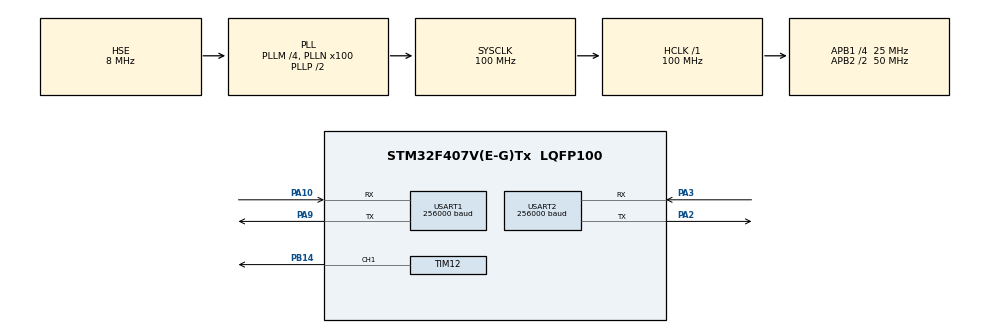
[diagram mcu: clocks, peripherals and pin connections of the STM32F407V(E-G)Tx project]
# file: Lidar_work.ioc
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Dma.Request0=USART1_RX
Dma.Request1=USART1_TX
Dma.USART1_RX.0.Direction=DMA_PERIPH_TO_MEMORY
Dma.USART1_RX.0.FIFOMode=DMA_FIFOMODE_DISABLE
Dma.USART1_RX.0.Instance=DMA2_Stream2
Dma.USART1_RX.0.MemDataAlignment=DMA_MDATAALIGN_BYTE
Dma.USART1_RX.0.MemInc=DMA_MINC_ENABLE
Dma.USART1_RX.0.Mode=DMA_NORMAL
Dma.USART1_RX.0.PeriphDataAlignment=DMA_PDATAALIGN_BYTE
Dma.USART1_RX.0.PeriphInc=DMA_PINC_DISABLE
Dma.USART1_RX.0.Priority=DMA_PRIORITY_VERY_HIGH
Dma.USART1_TX.1.Direction=DMA_MEMORY_TO_PERIPH
Dma.USART1_TX.1.FIFOMode=DMA_FIFOMODE_DISABLE
Dma.USART1_TX.1.Instance=DMA2_Stream7
Dma.USART1_TX.1.MemDataAlignment=DMA_MDATAALIGN_BYTE
Dma.USART1_TX.1.MemInc=DMA_MINC_ENABLE
Dma.USART1_TX.1.Mode=DMA_NORMAL
Dma.USART1_TX.1.PeriphDataAlignment=DMA_PDATAALIGN_BYTE
Dma.USART1_TX.1.PeriphInc=DMA_PINC_DISABLE
Dma.USART1_TX.1.Priority=DMA_PRIORITY_VERY_HIGH
Mcu.Family=STM32F4
Mcu.Name=STM32F407V(E-G)Tx
Mcu.Package=LQFP100
NVIC.DMA2_Stream2_IRQn=true\:0\:0\:false\:false\:true\:false\:true\:true
NVIC.DMA2_Stream7_IRQn=true\:0\:0\:false\:false\:true\:false\:true\:true
NVIC.PriorityGroup=NVIC_PRIORITYGROUP_4
NVIC.USART1_IRQn=true\:0\:0\:false\:false\:true\:true\:true\:true
PA10.Mode=Asynchronous
PA10.Signal=USART1_RX
PA2.Mode=Asynchronous
PA2.Signal=USART2_TX
PA3.Mode=Asynchronous
PA3.Signal=USART2_RX
PA9.Mode=Asynchronous
PA9.Signal=USART1_TX
PB14.Signal=S_TIM12_CH1
PH0-OSC_IN.Mode=HSE-External-Oscillator
PH0-OSC_IN.Signal=RCC_OSC_IN
PH1-OSC_OUT.Mode=HSE-External-Oscillator
PH1-OSC_OUT.Signal=RCC_OSC_OUT
ProjectManager.HeapSize=0x200
ProjectManager.StackSize=0x400
ProjectManager.TargetToolchain=STM32CubeIDE
RCC.48MHZClocksFreq_Value=50000000
RCC.AHBFreq_Value=100000000
RCC.APB1CLKDivider=RCC_HCLK_DIV4
RCC.APB1Freq_Value=25000000
RCC.APB1TimFreq_Value=50000000
RCC.APB2CLKDivider=RCC_HCLK_DIV2
RCC.APB2Freq_Value=50000000
RCC.APB2TimFreq_Value=100000000
RCC.CortexFreq_Value=100000000
RCC.HCLKFreq_Value=100000000
RCC.HSE_VALUE=8000000
RCC.HSI_VALUE=16000000
RCC.LSE_VALUE=32768
RCC.PLLM=4
RCC.PLLN=100
RCC.PLLSourceVirtual=RCC_PLLSOURCE_HSE
RCC.SYSCLKFreq_VALUE=100000000
RCC.SYSCLKSource=RCC_SYSCLKSOURCE_PLLCLK
RCC.VCOOutputFreq_Value=200000000
SH.S_TIM12_CH1.0=TIM12_CH1,PWM Generation1 CH1
TIM12.Channel-PWM\ Generation1\ CH1=TIM_CHANNEL_1
TIM12.Period=1000
TIM12.Prescaler=3
TIM12.Pulse-PWM\ Generation1\ CH1=500
USART1.BaudRate=256000
USART1.VirtualMode=VM_ASYNC
USART2.BaudRate=256000
USART2.VirtualMode=VM_ASYNC
VP_TIM12_VS_ClockSourceINT.Mode=Internal
board=custom

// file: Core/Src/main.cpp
/* USER CODE BEGIN Header */
/**
  ******************************************************************************
  * @file           : main.c
  * @brief          : Main program body
  ******************************************************************************
  * @attention
  *
  * Copyright (c) 2023 STMicroelectronics.
  * All rights reserved.
  *
  * This software is licensed under terms that can be found in the LICENSE file
  * in the root directory of this software component.
  * If no LICENSE file comes with this software, it is provided AS-IS.
  *
  ******************************************************************************
  */
/* USER CODE END Header */
#include "main.h"

/* USER CODE BEGIN Includes */
#include "lidar_driver.h"
#include "lidar.h"
#include "dbscan.hpp"
#include <iostream>
#include <string>
#include <system_error>
#include <string_view>
#include <vector>
#include <utility>
#include <fstream>
#include <charconv>
#include <cassert>
#include <tuple>
#include <cstring>
#include <array>
#include <span>
/* USER CODE END Includes */

TIM_HandleTypeDef htim12;

UART_HandleTypeDef huart1;
UART_HandleTypeDef huart2;
DMA_HandleTypeDef hdma_usart1_rx;
DMA_HandleTypeDef hdma_usart1_tx;

/* USER CODE BEGIN PV */

// Variáveis de recepção de dados do lidar
volatile bool received_flag, t_flag = false;
volatile bool parseData = false;
uint8_t buff[3*BLOCK_SIZE] = {0};

// informações do mapa scaneado pelo lidar
lidar_map map_li;

// aux
uint8_t i = 0;
int count = 0;

//Quantidade de pacotes recebidos -> utilizado no dbscan
int n_blocks = 0;

using std::vector;

//Variáveis dbscan
float eps = 0.75; // vizinhaça
int minPts = 8; // minimo de pontos para formar uma região densa
vector<point2> points; // pontos x->distancia; y->angulo
//DBSCAN db = new DBSCAN();

/* USER CODE END PV */

void SystemClock_Config(void);
static void MX_GPIO_Init(void);
static void MX_DMA_Init(void);
static void MX_TIM12_Init(void);
static void MX_USART1_UART_Init(void);
static void MX_USART2_UART_Init(void);
/* USER CODE BEGIN PFP */
auto check_from_chars_error(std::errc err, const std::string_view& line, int line_counter)
{
    if(err == std::errc())
        return;

    if(err == std::errc::invalid_argument)
    {
        std::cerr << "Error: Invalid value \"" << line
            << "\" at line " << line_counter << "\n";
        std::exit(1);
    }

    if(err == std::errc::result_out_of_range)
    {
        std::cerr << "Error: Value \"" << line << "\"out of range at line "
                  <<  line_counter << "\n";
        std::exit(1);
    }

}

template<typename T>
auto to_num(const std::string& str)
{
    T value = 0;
    auto [ptr, ec] = std::from_chars(str.data(), str.data() + str.size(), value);

    if(ec != std::errc())
    {
        std::cerr << "Error converting value '" << str << "'\n";
        std::exit(1);
    }
    return value;
}

// noise will be labelled as 0
auto flatten(const std::vector<std::vector<size_t>>& clusters, size_t n)
{
    auto flat_clusters = std::vector<size_t>(n);

    for(size_t i = 0; i < clusters.size(); i++)
    {
        for(auto p: clusters[i])
        {
            flat_clusters[p] = i + 1;
        }
    }

    return flat_clusters;
}

auto run_dbscan(int dim, const std::span<const point2>& data, float eps, int min_pts)
{
    if(dim == 2)
    {
        auto points = std::vector<point2>(data.size() / dim);
        std::memcpy(points.data(), data.data(), sizeof(float) * data.size());

        return dbscan(data, eps, min_pts);
    }

   // auto points = std::vector<point3>(data.size() / dim);
    //std::memcpy(points.data(), data.data(), sizeof(float) * data.size());

    //return dbscan(data, eps, min_pts);
}

auto dbscan2d(vector<point2> data, float eps, int min_pts)
{
//    auto points = std::vector<point2>(data.size() / 2);
//
//    std::memcpy(points.data(), data.data(), sizeof(float) * data.size());

    auto clusters = dbscan(data, eps, min_pts);
    auto flat     = flatten(clusters, data.size());

    for(size_t i = 0; i < data.size(); i++)
    {
        //std::cout << points[i].x_dist << ' -- ' << points[i].y_angl << ' -- '  << flat[i] << ' !!!!!\r\n\n ';
    	//printf("pra saber o que tá acontecendo\r\n");
    	//printf("%f --- %f --- %d\r\n", data[i].x_dist, data[i].y_angl, flat[i]);
    	printf("%f---%f\r\n", data[i].x_dist, data[i].y_angl);
    }
}

//auto dbscan3d(const std::span<const float>& data, float eps, int min_pts)
//{
//    auto points = std::vector<point3>(data.size() / 3);
//
//    std::memcpy(points.data(), data.data(), sizeof(float) * data.size());
//
//    auto clusters = dbscan(points, eps, min_pts);
//    auto flat     = flatten(clusters, points.size());
//
//    for(size_t i = 0; i < points.size(); i++)
//    {
//        std::cout << points[i].x << ',' << points[i].y << ',' << points[i].z << ',' << flat[i] << '\n';
//    }
//}

extern "C"{
int _write(int fd, char* ptr, int len) {
	//HAL_UART_Transmit_IT(&huart2, (uint8_t *) ptr, strlen(ptr));
//	HAL_UART_Transmit_DMA(&huart2, (uint8_t*) ptr, strlen(ptr));
	HAL_UART_Transmit(&huart2, (uint8_t *) ptr, len, strlen(ptr));
	return len;
}
}

void HAL_UART_RxCpltCallback(UART_HandleTypeDef *huart)
{
		static uint8_t k = 0;
		static uint8_t previous_k = 2;
		static uint8_t next_k = 1;

//		printf("enviou\r\n");

		if(parseData)
		{
			//Set up DMA to receive next packet.
			HAL_UART_Receive_DMA(&huart1, buff + next_k * BLOCK_SIZE, BLOCK_SIZE);
			n_blocks++;

			//Calculate start angles of current and last packet, compare them -> calculate step, convert to Q16
			int current_start_angle_q8 = (((uint16_t)(*(buff + k * BLOCK_SIZE + ANGLE_OFFSET_14_8)) & 0x7f) << 10);
			current_start_angle_q8 |= (*(buff + k * BLOCK_SIZE + ANGLE_OFFSET_07_0)) << 2;
			int previous_start_angle_q8 = (((uint16_t)(*(buff + previous_k * BLOCK_SIZE + ANGLE_OFFSET_14_8)) & 0x7f) << 10);
			previous_start_angle_q8 |= (*(buff + previous_k * BLOCK_SIZE + ANGLE_OFFSET_07_0)) << 2;

			int start_angle_diff_q8 = current_start_angle_q8 - previous_start_angle_q8;
			if(previous_start_angle_q8 > current_start_angle_q8) start_angle_diff_q8 += (360 << 8);
			int angle_step_q16 = (start_angle_diff_q8 << 3) / 3;
			int current_raw_angle_q16 = (previous_start_angle_q8 << 8);

			if(previous_start_angle_q8 > 0 &&  map_li.recv_status != RECV_STATUS_SYNCED_TWICE_MAP_READY)
			{
				for(uint8_t i = 0; i < ULTRA_CABINS_IN_RESPONSE ; i++)
				{
					//Each ultra_cabin consists of data for three points.
					int dist_q2[3];
					int angle_q6[3];
					int syncBit[3];

					//Get one ultra-cabin FROM PREVIOUS BUFFER and save it as uint32_t
					uint32_t combined = (*((uint32_t*)(buff + previous_k * BLOCK_SIZE + ULTRA_CABIN_0_OFFSET + CABIN_SIZE * i)));

					//"Magic shift", 'DO NOT TOUCH', from SDK.
					int dist_major = (combined & 0xfff);
					int dist_predict1 = (((int)(combined << 10)) >> 22);
					int dist_predict2 = (((int)combined) >> 22);

					int dist_major2;
					uint32_t scale1, scale2;

					//Fetch data from next ultra_cabin, from the right packet.
					if(i == ULTRA_CABINS_IN_RESPONSE - 1){
						//last ultra cabin in packet, get data from first ultra_cabin in "current" buffer
						dist_major2 = (*((uint32_t*)(buff + k * BLOCK_SIZE + ULTRA_CABIN_0_OFFSET + CABIN_SIZE * 0))) & 0xfff;
					}else{
						dist_major2 = (*((uint32_t*)(buff + previous_k * BLOCK_SIZE + ULTRA_CABIN_0_OFFSET + CABIN_SIZE * (i + 1)))) & 0xfff;
					}

					//### SDK MATH ###
					dist_major = _varbitscale_decode(dist_major, scale1);
					dist_major2 = _varbitscale_decode(dist_major2, scale2);

					int dist_base1 = dist_major;
					int dist_base2 = dist_major2;

					if((!dist_major) && dist_major2){
						dist_base1 = dist_major2;
						scale1 = scale2;
					}

					//Fetch data for THREE points
					dist_q2[0] = (dist_major << 2);

					//For -Wsign-compare warnings: The following line was copied from SDK and probably should not be changed
					if((dist_predict1 == 0xFFFFFE00) || (dist_predict1 == 0x1FF)){
						dist_q2[1] = 0;
					} else {
						dist_predict1 = (dist_predict1 << scale1);
						dist_q2[1] = (dist_predict1 + dist_base1) << 2;
					}

					//For -Wsign-compare warnings: The following line was copied from SDK and probably should not be changed
					if((dist_predict1 == 0xFFFFFE00) || (dist_predict2 == 0x1FF)){
						dist_q2[2] = 0;
					} else {
						dist_predict2 =  (dist_predict2 << scale2);
						dist_q2[2] = (dist_predict2 + dist_base2) << 2;
					}

					//## ENDOF SDK MATH ###
					for(int j = 0; j < 3; j++)
					{

						syncBit[j] = (((current_raw_angle_q16 + angle_step_q16) % (360 << 16)) < angle_step_q16) ? 1 : 0;

						//Check if a full 360 map_li is already saved (two syncs <=> twice passed 0 angle)
						if(syncBit[j]){
							if(map_li.recv_status == RECV_STATUS_NOT_SYNCED){
								map_li.recv_status = RECV_STATUS_SYNCED_ONCE;

							}else if(map_li.recv_status == RECV_STATUS_SYNCED_ONCE){
								map_li.recv_status = RECV_STATUS_SYNCED_TWICE_MAP_READY;
								break;
							}
						}

						//### SDK MATH ###
						int offset_angle_mean_q16 = (int)(7.5 * 3.1415926535 * (1<<16) / 180.0);

						if(dist_q2[j] >= (50*4)){
							const int k1 = 98361;
							const int k2 = (int)(k1/dist_q2[j]);
							offset_angle_mean_q16 = (int)((8 * 3.1415926535 * (1<<16) / 180) - (k2 << 6) - (k2 * k2 * k2) / 98304);
						}

						angle_q6[j] = ((current_raw_angle_q16 - int(offset_angle_mean_q16 * 180 / 3.14159265)) >> 10);
						current_raw_angle_q16 += angle_step_q16;

						if(angle_q6[j] < 0) angle_q6[j] += (360 << 6);
						else if(angle_q6[j] >= (360 << 6)) angle_q6[j] -= (360 << 6);

						//### ENDOF SDK MATH ###

						float f_angle = ((float) angle_q6[j])/ 64.0f;
						float f_distance = ((float) dist_q2[j]) / 4.0f;

						uint16_t quality = dist_q2[j] ? (0x2f << RPLIDAR_RESP_MEASUREMENT_QUALITY_SHIFT) : 0;

						if(f_angle >1.0 && f_angle < 360.0 && quality != 0  && map_li.cnt < POINTS  && map_li.recv_status == RECV_STATUS_SYNCED_ONCE)
						{

						  f_angle = 180.0 - f_angle;
						  if(f_angle < 0) f_angle += 360.0;

						  //Add received data to the arrays
						  map_li.angles.push_back(f_angle);
						  map_li.distances.push_back(f_distance);

						  //printf("%f --- %f ", f_angle, f_distance);
//						  map_li.angles[map_li.cnt] = f_angle;
//						  map_li.distances[map_li.cnt] = f_distance;
//						  points->x_dist.push_back(f_distance);
//						  points->y_ang.push_back(f_angle);

						  //If this is the greatest distance, save it
						  if(f_distance > map_li.dmax){
							  map_li.dmax = f_distance;
							  map_li.amax = f_angle;
						  }
						  else if(f_distance < map_li.dmin && f_distance > 0.0){
							  map_li.dmin = f_distance;
							  map_li.amin = f_angle;
						  }
						  point2 p;
						  if(f_angle >= 155 && f_angle <= 215){
							  p.x_dist = f_distance;
							  p.y_angl = f_angle;
							  points.push_back(p);
						  }
						  map_li.cnt++;
						}
					}
					if(map_li.recv_status == RECV_STATUS_SYNCED_TWICE_MAP_READY) break;
				}
			}
			k++;
			previous_k++;
			next_k++;
			if(k >= 3) k = 0;
			if(previous_k >= 3) previous_k = 0;
			if(next_k >= 3) next_k = 0;
		}
		//In main, this flag is used only once.
		//Can be used to indicate that DMA has finished receiving data.
		received_flag = true;
}

void HAL_UART_TxCpltCallback(UART_HandleTypeDef *huart){
	t_flag = true;
}

/* USER CODE END PFP */

int main(void)
{

  /* MCU Configuration--------------------------------------------------------*/

  /* Reset of all peripherals, Initializes the Flash interface and the Systick. */
  HAL_Init();

  /* Configure the system clock */
  SystemClock_Config();

  /* Initialize all configured peripherals */
  MX_GPIO_Init();
  MX_DMA_Init();
  MX_TIM12_Init();
  MX_USART1_UART_Init();
  MX_USART2_UART_Init();
  /* USER CODE BEGIN 2 */
  printf("Some String\r\n");
  HAL_TIM_PWM_Start(&htim12, TIM_CHANNEL_1 );

  HAL_UART_Transmit_DMA(&huart1, (uint8_t*) rplidar_reset, 2);
  HAL_Delay(3000);

  //Send the ultra capsuled mode scan request over DMA
  HAL_UART_Transmit_DMA(&huart1, (uint8_t*) rplidar_scan_ultra, 9);

//  //Clear UART receiving flags
//  __HAL_UART_CLEAR_NEFLAG(&huart2);
//  __HAL_UART_CLEAR_OREFLAG(&huart2);

  //Set DMA to receive 8-byte response descriptor, do parse it(parseData==false)
  HAL_UART_Receive_DMA(&huart1, buff, 7);

  //Wait until the descriptor is received.
  while(!received_flag);
//  printf("depois do while received flag\r\n");

  //With parseData flag on, the DMA "received" interrupt from now will now parse the data packets
  //received. The interrupt will also set DMA to pend for another 132b block, continuously.
  parseData = true;

  //Let the DMA receive blocks continuously
  HAL_UART_Receive_DMA(&huart1, buff, BLOCK_SIZE);
  printf("after dma receive\r\n");

  /* USER CODE END 2 */

  /* Infinite loop */
  /* USER CODE BEGIN WHILE */
  while (1)
  {
	  //printf("detro do while\r\n");
	  while(map_li.recv_status != RECV_STATUS_SYNCED_TWICE_MAP_READY);

	  dbscan2d(points, eps, minPts);
	  run_dbscan(2, points, eps, minPts);

//		db = DBSCAN(map_li.cnt, eps, minPts, points);
//		db.run();

//		while(i < 3 * BLOCK_SIZE){
//			printf("%x\r\n", buff[i]);
//			i++;
//		}
//		i = 0;
		//printf("saiu do while\r\n\n\n");

	  			//printf("distance: %d\r\n", distance);
	  			//printf("angle: %d\r\n", angle);
	  //Clear received data.
	  map_li = lidar_map();
    /* USER CODE END WHILE */

  }
}

void SystemClock_Config(void)
{
  RCC_OscInitTypeDef RCC_OscInitStruct = {0};
  RCC_ClkInitTypeDef RCC_ClkInitStruct = {0};

  /** Configure the main internal regulator output voltage
  */
  __HAL_RCC_PWR_CLK_ENABLE();
  __HAL_PWR_VOLTAGESCALING_CONFIG(PWR_REGULATOR_VOLTAGE_SCALE1);

  /** Initializes the RCC Oscillators according to the specified parameters
  * in the RCC_OscInitTypeDef structure.
  */
  RCC_OscInitStruct.OscillatorType = RCC_OSCILLATORTYPE_HSE;
  RCC_OscInitStruct.HSEState = RCC_HSE_ON;
  RCC_OscInitStruct.PLL.PLLState = RCC_PLL_ON;
  RCC_OscInitStruct.PLL.PLLSource = RCC_PLLSOURCE_HSE;
  RCC_OscInitStruct.PLL.PLLM = 4;
  RCC_OscInitStruct.PLL.PLLN = 100;
  RCC_OscInitStruct.PLL.PLLP = RCC_PLLP_DIV2;
  RCC_OscInitStruct.PLL.PLLQ = 4;
  if (HAL_RCC_OscConfig(&RCC_OscInitStruct) != HAL_OK)
  {
    Error_Handler();
  }

  /** Initializes the CPU, AHB and APB buses clocks
  */
  RCC_ClkInitStruct.ClockType = RCC_CLOCKTYPE_HCLK|RCC_CLOCKTYPE_SYSCLK
                              |RCC_CLOCKTYPE_PCLK1|RCC_CLOCKTYPE_PCLK2;
  RCC_ClkInitStruct.SYSCLKSource = RCC_SYSCLKSOURCE_PLLCLK;
  RCC_ClkInitStruct.AHBCLKDivider = RCC_SYSCLK_DIV1;
  RCC_ClkInitStruct.APB1CLKDivider = RCC_HCLK_DIV4;
  RCC_ClkInitStruct.APB2CLKDivider = RCC_HCLK_DIV2;

  if (HAL_RCC_ClockConfig(&RCC_ClkInitStruct, FLASH_LATENCY_3) != HAL_OK)
  {
    Error_Handler();
  }
}

static void MX_TIM12_Init(void)
{

  TIM_ClockConfigTypeDef sClockSourceConfig = {0};
  TIM_OC_InitTypeDef sConfigOC = {0};

  htim12.Instance = TIM12;
  htim12.Init.Prescaler = 3;
  htim12.Init.CounterMode = TIM_COUNTERMODE_UP;
  htim12.Init.Period = 1000;
  htim12.Init.ClockDivision = TIM_CLOCKDIVISION_DIV1;
  htim12.Init.AutoReloadPreload = TIM_AUTORELOAD_PRELOAD_DISABLE;
  if (HAL_TIM_Base_Init(&htim12) != HAL_OK)
  {
    Error_Handler();
  }
  sClockSourceConfig.ClockSource = TIM_CLOCKSOURCE_INTERNAL;
  if (HAL_TIM_ConfigClockSource(&htim12, &sClockSourceConfig) != HAL_OK)
  {
    Error_Handler();
  }
  if (HAL_TIM_PWM_Init(&htim12) != HAL_OK)
  {
    Error_Handler();
  }
  sConfigOC.OCMode = TIM_OCMODE_PWM1;
  sConfigOC.Pulse = 500;
  sConfigOC.OCPolarity = TIM_OCPOLARITY_HIGH;
  sConfigOC.OCFastMode = TIM_OCFAST_DISABLE;
  if (HAL_TIM_PWM_ConfigChannel(&htim12, &sConfigOC, TIM_CHANNEL_1) != HAL_OK)
  {
    Error_Handler();
  }
  HAL_TIM_MspPostInit(&htim12);

}

static void MX_USART1_UART_Init(void)
{

  huart1.Instance = USART1;
  huart1.Init.BaudRate = 256000;
  huart1.Init.WordLength = UART_WORDLENGTH_8B;
  huart1.Init.StopBits = UART_STOPBITS_1;
  huart1.Init.Parity = UART_PARITY_NONE;
  huart1.Init.Mode = UART_MODE_TX_RX;
  huart1.Init.HwFlowCtl = UART_HWCONTROL_NONE;
  huart1.Init.OverSampling = UART_OVERSAMPLING_16;
  if (HAL_UART_Init(&huart1) != HAL_OK)
  {
    Error_Handler();
  }

}

static void MX_USART2_UART_Init(void)
{

  huart2.Instance = USART2;
  huart2.Init.BaudRate = 256000;
  huart2.Init.WordLength = UART_WORDLENGTH_8B;
  huart2.Init.StopBits = UART_STOPBITS_1;
  huart2.Init.Parity = UART_PARITY_NONE;
  huart2.Init.Mode = UART_MODE_TX_RX;
  huart2.Init.HwFlowCtl = UART_HWCONTROL_NONE;
  huart2.Init.OverSampling = UART_OVERSAMPLING_16;
  if (HAL_UART_Init(&huart2) != HAL_OK)
  {
    Error_Handler();
  }

}

static void MX_DMA_Init(void)
{

  /* DMA controller clock enable */
  __HAL_RCC_DMA2_CLK_ENABLE();

  /* DMA interrupt init */
  /* DMA2_Stream2_IRQn interrupt configuration */
  HAL_NVIC_SetPriority(DMA2_Stream2_IRQn, 0, 0);
  HAL_NVIC_EnableIRQ(DMA2_Stream2_IRQn);
  /* DMA2_Stream7_IRQn interrupt configuration */
  HAL_NVIC_SetPriority(DMA2_Stream7_IRQn, 0, 0);
  HAL_NVIC_EnableIRQ(DMA2_Stream7_IRQn);

}

static void MX_GPIO_Init(void)
{

  /* GPIO Ports Clock Enable */
  __HAL_RCC_GPIOH_CLK_ENABLE();
  __HAL_RCC_GPIOA_CLK_ENABLE();
  __HAL_RCC_GPIOB_CLK_ENABLE();

}

void Error_Handler(void)
{
  __disable_irq();
  while (1)
  {
  }
}
